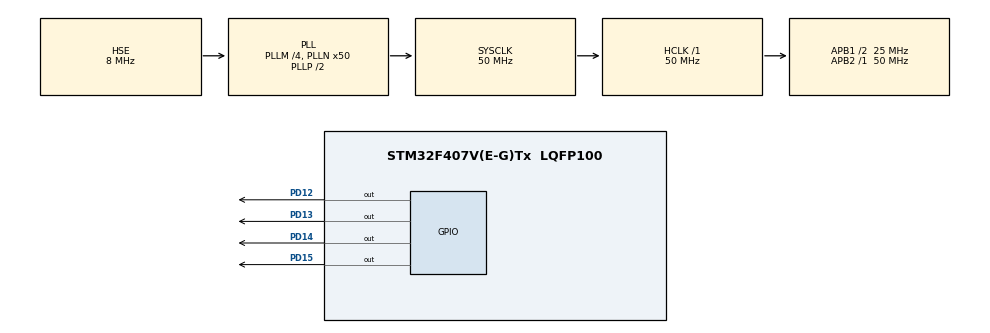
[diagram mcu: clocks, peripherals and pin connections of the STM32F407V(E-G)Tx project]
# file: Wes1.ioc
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Mcu.Family=STM32F4
Mcu.Name=STM32F407V(E-G)Tx
Mcu.Package=LQFP100
NVIC.PriorityGroup=NVIC_PRIORITYGROUP_4
PD12.GPIO_Speed=GPIO_SPEED_FREQ_VERY_HIGH
PD12.Signal=GPIO_Output
PD13.GPIO_Speed=GPIO_SPEED_FREQ_VERY_HIGH
PD13.Signal=GPIO_Output
PD14.GPIO_Speed=GPIO_SPEED_FREQ_VERY_HIGH
PD14.Signal=GPIO_Output
PD15.GPIO_Speed=GPIO_SPEED_FREQ_VERY_HIGH
PD15.Signal=GPIO_Output
PH0-OSC_IN.Mode=HSE-External-Oscillator
PH0-OSC_IN.Signal=RCC_OSC_IN
PH1-OSC_OUT.Mode=HSE-External-Oscillator
PH1-OSC_OUT.Signal=RCC_OSC_OUT
ProjectManager.HeapSize=0x200
ProjectManager.StackSize=0x400
ProjectManager.TargetToolchain=Makefile
RCC.48MHZClocksFreq_Value=25000000
RCC.AHBFreq_Value=50000000
RCC.APB1CLKDivider=RCC_HCLK_DIV2
RCC.APB1Freq_Value=25000000
RCC.APB1TimFreq_Value=50000000
RCC.APB2Freq_Value=50000000
RCC.APB2TimFreq_Value=50000000
RCC.CortexFreq_Value=50000000
RCC.HCLKFreq_Value=50000000
RCC.HSE_VALUE=8000000
RCC.HSI_VALUE=16000000
RCC.LSE_VALUE=32768
RCC.PLLM=4
RCC.PLLN=50
RCC.PLLSourceVirtual=RCC_PLLSOURCE_HSE
RCC.SYSCLKFreq_VALUE=50000000
RCC.SYSCLKSource=RCC_SYSCLKSOURCE_PLLCLK
RCC.VCOOutputFreq_Value=100000000
board=custom

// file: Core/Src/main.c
/* USER CODE BEGIN Header */
/**
  ******************************************************************************
  * @file           : main.c
  * @brief          : Main program body
  ******************************************************************************
  * @attention
  *
  * Copyright (c) 2021 STMicroelectronics.
  * All rights reserved.
  *
  * This software is licensed under terms that can be found in the LICENSE file
  * in the root directory of this software component.
  * If no LICENSE file comes with this software, it is provided AS-IS.
  *
  ******************************************************************************
  */
/* USER CODE END Header */
#include "main.h"
#include "gpio.h"

void SystemClock_Config(void);

/* USER CODE BEGIN 0 */

void MX_GPIO_Init(void){
GPIO_InitTypeDef GPIO_InitStruct = {0};

/* GPIO Ports Clock Enable */
__HAL_RCC_GPIOD_CLK_ENABLE();

/* Configure GPIO pin Output Level */
 HAL_GPIO_WritePin ( LED_GPIOx , LED4_GREEN_PinNumber | LED3_ORANGE_PinNumber | LED5_RED_PinNumber | LED6_BLUE_PinNumber , GPIO_PIN_RESET );

 /* Configure GPIO pins : PD12 PD13 PD14 PD15 */
 GPIO_InitStruct.Pin = LED4_GREEN_PinNumber | LED3_ORANGE_PinNumber | LED5_RED_PinNumber | LED6_BLUE_PinNumber;
 GPIO_InitStruct.Mode = GPIO_MODE_OUTPUT_PP;
 GPIO_InitStruct.Pull = GPIO_NOPULL;
 GPIO_InitStruct.Speed = GPIO_SPEED_FREQ_VERY_HIGH;
 HAL_GPIO_Init (GPIOD , &GPIO_InitStruct );
}

void gpio_led_state(uint8_t LED_ID , uint8_t state){

GPIO_PinState pinState;

pinState = ( state == 1) ? GPIO_PIN_SET : GPIO_PIN_RESET;
switch(LED_ID){
	 case LED3_ORANGE_ID:
	 HAL_GPIO_WritePin(GPIOD , LED3_ORANGE_PinNumber , pinState);
	 break;
	 case LED4_GREEN_ID:
	 HAL_GPIO_WritePin(GPIOD , LED4_GREEN_PinNumber , pinState);
	 break;
	 case LED5_RED_ID:
	 HAL_GPIO_WritePin(GPIOD , LED5_RED_PinNumber , pinState);
	 break;
	 case LED6_BLUE_ID:
	 HAL_GPIO_WritePin(GPIOD , LED6_BLUE_PinNumber , pinState);
	 break;
 }
}

int main(void){
	int i;
	HAL_Init();
	SystemClock_Config();
	MX_GPIO_Init();
	while(1){
		for (i =0;i <1000000; i ++) ;
	 gpio_led_state(LED3_ORANGE_ID , 1); // turn on
	 gpio_led_state(LED4_GREEN_ID , 1); // turn on
	 gpio_led_state(LED5_RED_ID , 0); // turn off
	 gpio_led_state(LED6_BLUE_ID , 0); // turn off

		for (i =0;i <1000000; i ++) ;
	 gpio_led_state(LED3_ORANGE_ID , 0); // turn off
	 gpio_led_state(LED4_GREEN_ID , 0); // turn off
	 gpio_led_state(LED5_RED_ID , 1); // turn on
	 gpio_led_state(LED6_BLUE_ID , 1); // turn on
	}
}

/* USER CODE END 0 */

void SystemClock_Config(void)
{
  RCC_OscInitTypeDef RCC_OscInitStruct = {0};
  RCC_ClkInitTypeDef RCC_ClkInitStruct = {0};

  /** Configure the main internal regulator output voltage
  */
  __HAL_RCC_PWR_CLK_ENABLE();
  __HAL_PWR_VOLTAGESCALING_CONFIG(PWR_REGULATOR_VOLTAGE_SCALE1);
  /** Initializes the RCC Oscillators according to the specified parameters
  * in the RCC_OscInitTypeDef structure.
  */
  RCC_OscInitStruct.OscillatorType = RCC_OSCILLATORTYPE_HSE;
  RCC_OscInitStruct.HSEState = RCC_HSE_ON;
  RCC_OscInitStruct.PLL.PLLState = RCC_PLL_ON;
  RCC_OscInitStruct.PLL.PLLSource = RCC_PLLSOURCE_HSE;
  RCC_OscInitStruct.PLL.PLLM = 4;
  RCC_OscInitStruct.PLL.PLLN = 50;
  RCC_OscInitStruct.PLL.PLLP = RCC_PLLP_DIV2;
  RCC_OscInitStruct.PLL.PLLQ = 4;
  if (HAL_RCC_OscConfig(&RCC_OscInitStruct) != HAL_OK)
  {
    Error_Handler();
  }
  /** Initializes the CPU, AHB and APB buses clocks
  */
  RCC_ClkInitStruct.ClockType = RCC_CLOCKTYPE_HCLK|RCC_CLOCKTYPE_SYSCLK
                              |RCC_CLOCKTYPE_PCLK1|RCC_CLOCKTYPE_PCLK2;
  RCC_ClkInitStruct.SYSCLKSource = RCC_SYSCLKSOURCE_PLLCLK;
  RCC_ClkInitStruct.AHBCLKDivider = RCC_SYSCLK_DIV1;
  RCC_ClkInitStruct.APB1CLKDivider = RCC_HCLK_DIV2;
  RCC_ClkInitStruct.APB2CLKDivider = RCC_HCLK_DIV1;

  if (HAL_RCC_ClockConfig(&RCC_ClkInitStruct, FLASH_LATENCY_1) != HAL_OK)
  {
    Error_Handler();
  }
}

void Error_Handler(void)
{
  __disable_irq();
  while (1)
  {
  }
}
